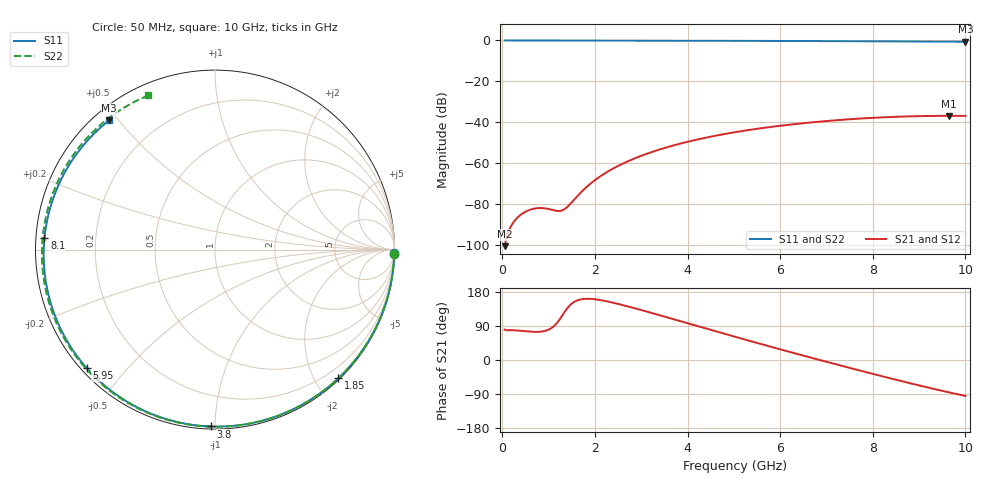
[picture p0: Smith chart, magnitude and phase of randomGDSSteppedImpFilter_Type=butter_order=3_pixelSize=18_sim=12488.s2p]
! freq	dB(S11)	phase(S11)	dB(S12)	phase(S12)
!  dB(S21)	phase(S21)	dB(S22)	phase(S22)
!S-par simulation data
#  GHz  S  DB  R 50
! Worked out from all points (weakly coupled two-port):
!   200 points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, 50 MHz to 10 GHz, reference 50 ohm
!   highest |S21| = -36.86 dB at 9.65 GHz (marker M1); lowest = -100.6 dB at 50 MHz (marker M2)
!   lowest |S11| = -0.6 dB at 10 GHz (marker M3), VSWR 27.80, Z = 2.2 + j23.6 ohm
!   |S11| at or under -10 dB: nowhere
!   |S22| runs from -0.6 to 0.0 dB; largest |S21 - S12| = 0
!   S11 on the Smith chart (normalised r, x): 50 MHz: 1, -92; 1.85 GHz: 0.02, -2.34; 3.8 GHz: 0.01, -0.98; 5.95 GHz: 0.02, -0.39; 8.1 GHz: 0.02, +0.03; 10 GHz: 0.04, +0.47
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0.05  -0.00 -1.2  -100.57 80.2  -100.57 80.2  -0.00 -1.5
0.4  -0.02 -10.1  -85.17 76.9  -85.17 76.9  -0.02 -12.6
0.7  -0.02 -17.7  -82.17 74.1  -82.17 74.1  -0.03 -22.0
1.05  -0.03 -26.5  -82.66 83.4  -82.66 83.4  -0.04 -32.9
1.45  -0.05 -36.4  -80.34 143.2  -80.34 143.2  -0.06 -45.0
1.75  -0.06 -43.8  -73.10 161.0  -73.10 161.0  -0.07 -53.8
1.85  -0.06 -46.2  -71.04 161.5  -71.04 161.5  -0.07 -56.7
2.15  -0.07 -53.4  -65.91 157.5  -65.91 157.5  -0.08 -65.3
2.5  -0.08 -61.7  -61.35 148.0  -61.35 148.0  -0.09 -75.0
2.9  -0.09 -71.0  -57.28 135.2  -57.28 135.2  -0.11 -85.7
3.4  -0.11 -82.4  -53.28 118.1  -53.28 118.1  -0.12 -98.6
3.8  -0.12 -91.3  -50.69 104.1  -50.69 104.1  -0.14 -108.5
4.4  -0.15 -104.4  -47.50 83.1  -47.50 83.1  -0.16 -122.7
5.05  -0.18 -118.4  -44.76 60.5  -44.76 60.5  -0.19 -137.5
5.95  -0.24 -137.3  -41.84 29.9  -41.84 29.9  -0.24 -157.1
6.7  -0.29 -153.1  -40.00 5.0  -40.00 5.0  -0.29 -173.1
7.4  -0.36 -168.2  -38.68 -17.6  -38.68 -17.6  -0.35 172.1
8.1  -0.42 176.2  -37.71 -39.7  -37.71 -39.7  -0.41 156.9
8.35  -0.45 170.5  -37.45 -47.5  -37.45 -47.5  -0.43 151.5
9  -0.52 155.0  -37.00 -67.1  -37.00 -67.1  -0.49 136.9
9.65  -0.59 138.6  -36.86 -85.6  -36.86 -85.6  -0.55 121.7
10  -0.63 129.3  -36.89 -94.9  -36.89 -94.9  -0.58 113.3
